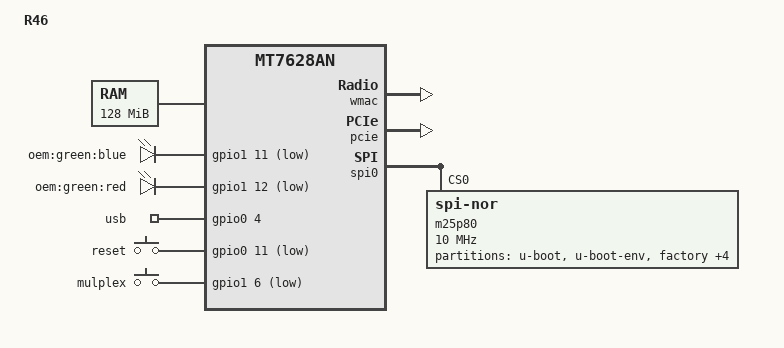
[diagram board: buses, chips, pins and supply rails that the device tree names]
/dts-v1/;

#include "mt7628an.dtsi"

#include <dt-bindings/input/input.h>
#include <dt-bindings/gpio/gpio.h>

/ {
	compatible = "OEM,MT7628", "mediatek,mt7628an-soc";
	model = "R46";

	chosen {
		bootargs = "console=ttyS0,115200";
	};

	memory@0 {
		device_type = "memory";
		reg = <0x0 0x8000000>;
	};

	gpio-leds {
		compatible = "gpio-leds";
		blue {
			label = "oem:green:blue";
			gpios = <&gpio1 11 GPIO_ACTIVE_LOW>;
		};

		red {
			label = "oem:green:red";
			gpios = <&gpio1 12 GPIO_ACTIVE_LOW>;
		};
	};

	gpio_export {
		compatible = "gpio-export";
		#size-cells = <0>;

		usb {
			gpio-export,name = "usb";
			gpio-export,output = <1>;
			gpios = <&gpio0 4 GPIO_ACTIVE_HIGH>;
		};
	};

	gpio-keys-polled {
		compatible = "gpio-keys-polled";
		#address-cells = <1>;
		#size-cells = <0>;
		poll-interval = <20>;
		reset {
			label = "reset";
			gpios = <&gpio0 11 GPIO_ACTIVE_LOW>;
			linux,code = <KEY_RESTART>;
		};

		mulplex {
			label = "mulplex";
			gpios = <&gpio1 6 GPIO_ACTIVE_LOW>;
			linux,code = <KEY_SETUP>;
		};
	};
};

&ethernet {
	mtd-mac-address = <&bdinfo 0xDE00>;
	mediatek,port-map = "lllwl";
};

&pinctrl {
	state_default: pinctrl0 {
		gpio {
			ralink,group = "refclk", "wled_an", "gpio", "spi cs1";
			ralink,function = "gpio";
		};
	};
};

&wmac {
	status = "okay";
};

&pcie {
	status = "okay";
};

&spi0 {
	status = "okay";

	m25p80@0 {
		#address-cells = <1>;
		#size-cells = <1>;
		compatible = "jedec,spi-nor";
		reg = <0>;
		spi-max-frequency = <10000000>;
		m25p,chunked-io = <32>;

		partition@0 {
			label = "u-boot";
			reg = <0x0 0x30000>;
		};

		partition@30000 {
			label = "u-boot-env";
			reg = <0x30000 0x10000>;
		};

		factory: partition@40000 {
			label = "factory";
			reg = <0x40000 0x10000>;
		};

		debug: partition@fd0000 {
			label = "debug";
			reg = <0xfd0000 0x10000>;
		};

		backup: partition@fe0000 {
			label = "backup";
			reg = <0xfe0000 0x10000>;
		};

		bdinfo: partition@ff0000 {
			label = "bdinfo";
			reg = <0xff0000 0x10000>;
		};

		partition@50000 {
			label = "firmware";
			reg = <0x50000 0xf80000>;
		};
	};
};
